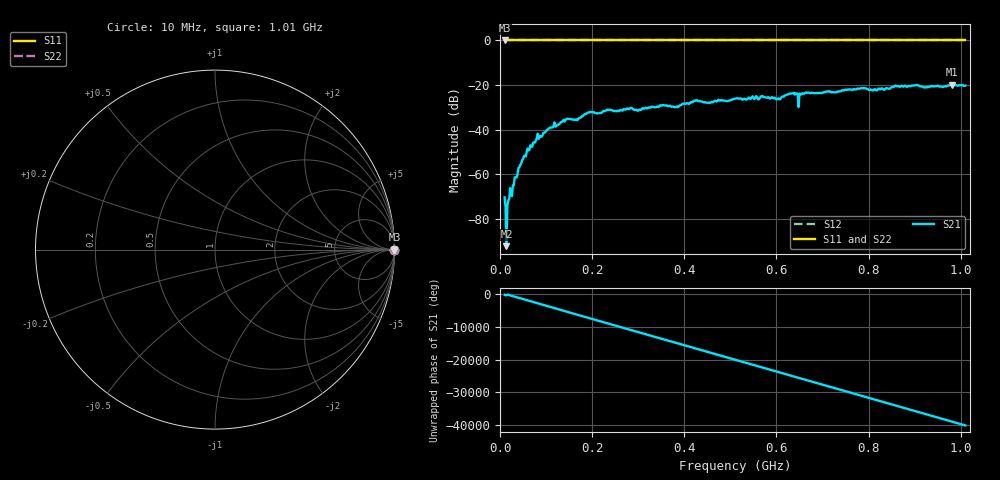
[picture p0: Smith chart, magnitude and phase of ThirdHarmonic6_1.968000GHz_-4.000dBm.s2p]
! 8/16/2025 11:40:33 PM
! C:\ANRITSUVNA\TEMP\TEMP.S2P
! CHANNEL.1
! TR.MEASUREMENT
! RAW.DATA
! RF.CORRECTION.OFF
! AVERAGING.OFF
! IF.BANDWIDTH: 5KHZ
! SWEEPTYPE:  FREQ.SWEEP(Linear)
! Reference Plane Port Info
! PORT:  PORT1  PORT2
! DISTANCE:  0  m  0  m
! TIME:  0  s  0  s
! PHASE.OFFSET:  0  deg.  0  deg.
! LOSS:  0  dB  0  dB
! REF.LOSS:  0  dB  0  dB
! REF.FREQ:  0  Hz  0  Hz
! Power Info
! POWER:  -20  dBm  -20  dBm
! EFF.POWER:  -20  dBm  -20  dBm
! SOURCE.ATTEN:  0  dB  0  dB
! TEST.ATTEN:  0  dB  0  dB
# GHZ S RI R 50.0
! FREQ.GHZ  S11RE  S11IM  S21RE  S21IM  S12RE  S12IM  S22RE  S22IM
!; PortSelection: Port_12
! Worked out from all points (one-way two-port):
!   501 points, 10 MHz to 1.01 GHz, reference 50 ohm
!   highest |S21| = -19.83 dB at 980 MHz (marker M1); lowest = -92.3 dB at 14 MHz (marker M2)
!   lowest |S11| = 0.0 dB at 10 MHz (marker M3)
!   |S11| at or under -10 dB: nowhere
!   |S22| runs from 0.0 to 0.0 dB; largest |S21 - S12| = 1.1
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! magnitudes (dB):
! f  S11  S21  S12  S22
! 10 MHz  0.0  -70.4  0.0  0.0
! 14 MHz  0.0  -92.3  0.0  0.0
! 16 MHz  0.0  -74.1  0.0  0.0
! 20 MHz  0.0  -71.1  0.0  0.0
! 44 MHz  0.0  -55.9  0.0  0.0
! 78 MHz  0.0  -44.9  0.0  0.0
! 114 MHz  0.0  -38.9  0.0  0.0
! 178 MHz  0.0  -34.0  0.0  0.0
! 194 MHz  0.0  -32.3  0.0  0.0
! 344 MHz  0.0  -29.9  0.0  0.0
! 382 MHz  0.0  -29.8  0.0  0.0
! 424 MHz  0.0  -27.1  0.0  0.0
! 452 MHz  0.0  -27.9  0.0  0.0
! 510 MHz  0.0  -26.1  0.0  0.0
! 604 MHz  0.0  -25.9  0.0  0.0
! 632 MHz  0.0  -23.8  0.0  0.0
! 650 MHz  0.0  -23.8  0.0  0.0
! 654 MHz  0.0  -24.1  0.0  0.0
! 678 MHz  0.0  -23.5  0.0  0.0
! 844 MHz  0.0  -21.7  0.0  0.0
! 980 MHz  0.0  -19.8  0.0  0.0
! 1.01 GHz  0.0  -20.3  0.0  0.0
